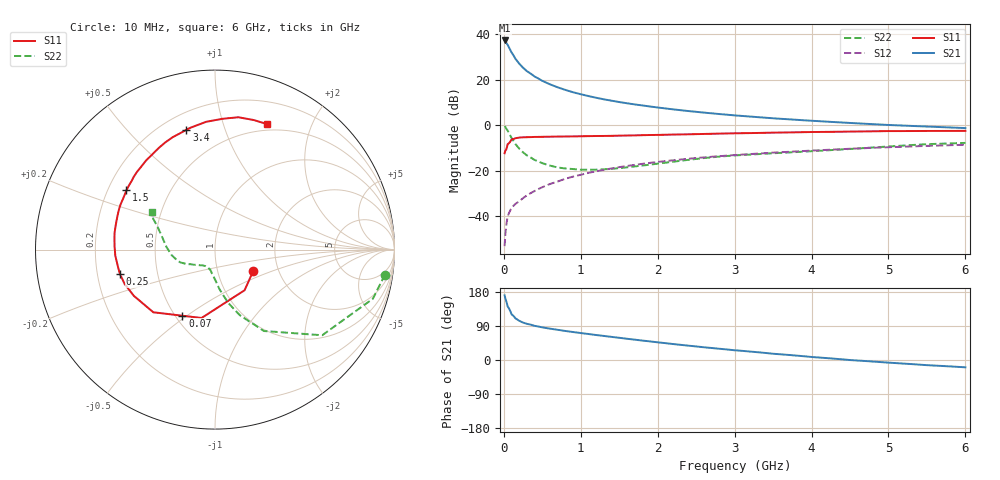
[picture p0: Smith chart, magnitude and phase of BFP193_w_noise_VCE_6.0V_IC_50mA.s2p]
! Infineon Technologies  Discrete & RF Semiconductors
! BFP193
! VCE =  6.0 V,  IC =  50 mA
! Common Emitter S-Parameters:  Jan 2017
# GHz  S  MA  R  50
!  f  S11  S21  S12  S22
! GHz  MAG  ANG  MAG  ANG  MAG  ANG  MAG  ANG
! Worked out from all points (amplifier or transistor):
!   77 points, 10 MHz to 6 GHz, reference 50 ohm
!   highest |S21| = 37.4 dB at 10 MHz (marker M1)
!   |S21| within 3 dB of that: start of sweep to 66.16 MHz
!   unconditionally stable (mu >= 1): 573.6 MHz to 2.41 GHz
!   at 130 MHz: K = 0.60, MSG = 32.9 dB, |S12| = -35.2 dB
!   at 2.2 GHz: K = 1.01, MAG = 10.7 dB, |S12| = -15.4 dB
!   at 6 GHz: K = 0.92, MSG = 3.7 dB, |S12| = -8.5 dB
!   lowest NFmin = 1.52 dB at 450 MHz
!   S11 on the Smith chart (normalised r, x): 10 MHz: 1.49, -0.38; 70 MHz: 0.54, -0.48; 250 MHz: 0.30, -0.12; 1.5 GHz: 0.28, +0.28; 3.4 GHz: 0.30, +0.75; 6 GHz: 0.43, +1.41
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0.01  0.2441 -29.1  73.75 170.6  0.0022 85.6  0.9573 -8.4
0.02  0.2801 -53.9  71.92 162.3  0.0041 80.7  0.9211 -17.3
0.05  0.3882 -101.1  58.81 141.1  0.0099 63.7  0.7647 -38.6
0.07  0.4109 -116.3  50.72 134.7  0.0121 63.0  0.6614 -45.0
0.1  0.4899 -134.5  40.34 120.7  0.0153 62.3  0.5292 -59.0
0.15  0.5203 -150.3  29.3 110.1  0.0187 59.5  0.3892 -69.4
0.2  0.5385 -159.1  22.77 103.5  0.0214 61.3  0.3078 -75.9
0.25  0.5468 -165.5  18.53 98.7  0.0251 62.0  0.255 -80.1
0.3  0.549 -169.8  15.58 95.5  0.0289 63.6  0.2181 -83.9
0.4  0.5564 -176.5  11.86 90.1  0.036 67.3  0.1735 -88.9
0.5  0.5599 178.2  9.532 86.1  0.0436 67.8  0.1472 -93.7
0.6  0.5634 173.9  7.992 82.7  0.0513 68.1  0.1303 -98.3
0.7  0.5673 170.6  6.86 79.7  0.0582 68.7  0.1183 -101.9
0.9  0.5719 163.5  5.349 73.8  0.0746 67.7  0.1094 -109.2
1.1  0.5797 157.5  4.408 68.6  0.0902 66.4  0.106 -116.4
1.5  0.5937 146.2  3.257 58.6  0.1204 62.0  0.1143 -130.4
2.1  0.6216 130.2  2.358 44.5  0.1636 54.8  0.151 -146.7
3.1  0.6722 108.9  1.61 24.1  0.2277 42.2  0.2229 -165.7
3.4  0.6861 103.4  1.473 18.6  0.245 38.8  0.2381 -171.1
4.1  0.716 92.5  1.235 6.5  0.2839 30.5  0.2759 174.8
5.1  0.7489 78.7  1.004 -8.2  0.335 19.0  0.3514 157.4
6  0.757 67.5  0.871 -19.3  0.375 8.9  0.4115 149.2
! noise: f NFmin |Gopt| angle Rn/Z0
0.45  1.52  0.43  -170  0.08
0.9  1.57  0.45  -164  0.09
1.9  2.2  0.61  -132  0.23
2.4  2.55  0.64  -119  0.48
